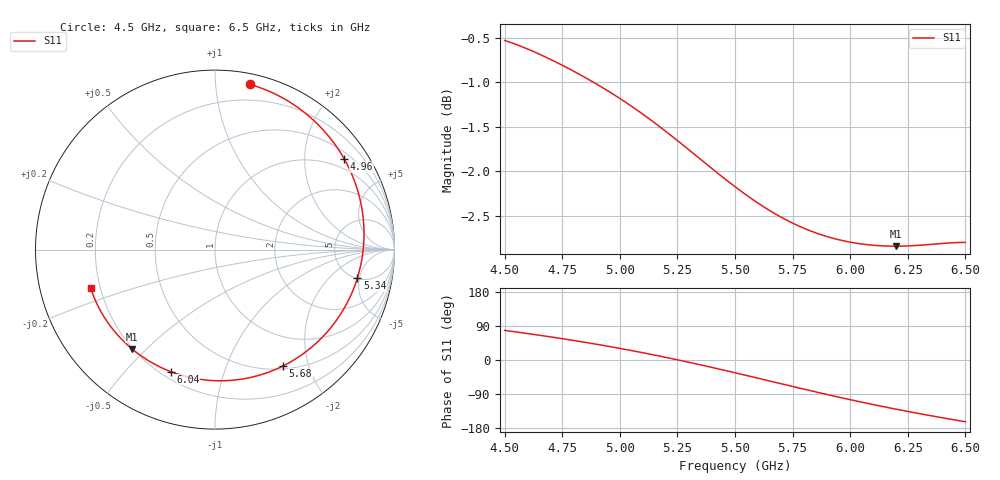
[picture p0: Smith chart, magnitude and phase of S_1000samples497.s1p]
! TOUCHSTONE file generated by CST MICROWAVE STUDIO
! Date and time: Fri Oct 28 09:05:05 2022
! Project name: L.cst
! Parameters = {Di=1.27; Epsilon_r=1.56; InnerDiameter=1.27; Length=2; Lf=10; Lg=60; OuterConductorThickness=0.2921; OuterDiameter=3.6; Wf=3; Wp=41.2; de=1.5; df=6.8; g=0.8; gx=2.13076; gy=1.6153; h=2.34; hf=1.524; px=9.09343; py=9.22336; w=9.7; wx=6.96266; wy=7.60806}
! Header version: 2018
! Port assignment regex: !\s*Touchstone port\s*([0-9]+)\s*=\s*(CST MWS port|CST DS port)\s*([0-9]+|Zmin|Zmax)\s*\(\"(.*)\"\)(\s*mode\s*([0-9]+))?.*
! Touchstone port assignment:
! Touchstone port 1 = CST MWS port 1 ("")
# GHz S DB R 50
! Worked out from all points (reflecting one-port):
!   101 points, 4.5 GHz to 6.5 GHz, reference 50 ohm
!   lowest |S11| = -2.8 dB at 6.2 GHz (marker M1), VSWR 6.17, Z = 9.82 - j22.6 ohm
!   phase of S11 starts at 78 deg and turns -241 deg over the sweep
!   S11 on the Smith chart (normalised r, x): 4.5 GHz: 0.08, +1.23; 4.96 GHz: 0.68, +3.03; 5.34 GHz: 5.04, -4.67; 5.68 GHz: 0.54, -1.61; 6.04 GHz: 0.24, -0.67; 6.5 GHz: 0.16, -0.15
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4.5  -0.53 78.1
4.58  -0.60 71.5
4.64  -0.67 66.3
4.76  -0.82 55.3
4.86  -0.96 45.5
4.96  -1.11 35.1
5  -1.18 30.7
5.08  -1.32 21.5
5.14  -1.43 14.3
5.2  -1.55 6.9
5.26  -1.68 -0.8
5.34  -1.84 -11.4
5.42  -2.01 -22.4
5.5  -2.17 -33.7
5.6  -2.36 -48.1
5.68  -2.49 -59.7
5.76  -2.60 -71.3
5.82  -2.66 -79.9
5.88  -2.72 -88.3
5.94  -2.76 -96.6
6  -2.80 -104.7
6.04  -2.81 -109.9
6.12  -2.84 -120.1
6.2  -2.84 -129.9
6.26  -2.84 -136.9
6.38  -2.82 -150.3
6.44  -2.80 -156.7
6.5  -2.80 -162.9
